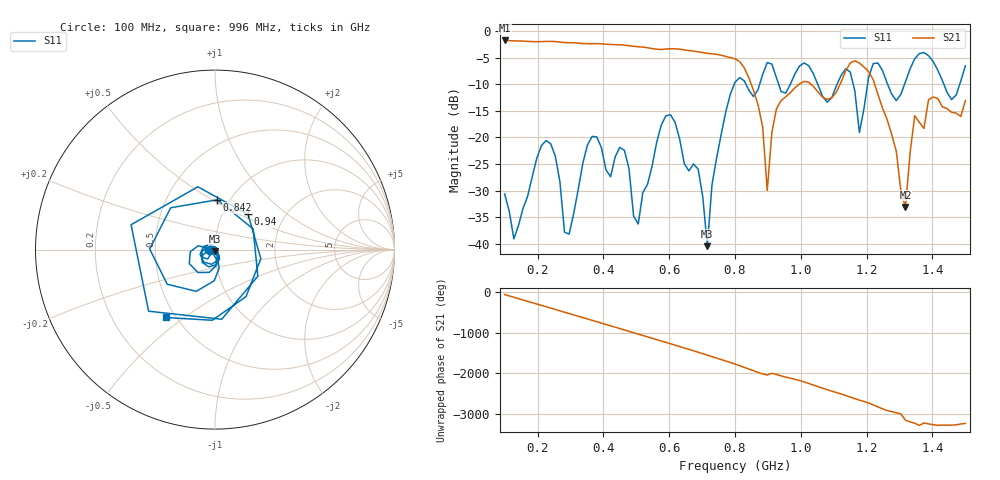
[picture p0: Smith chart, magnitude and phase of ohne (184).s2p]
! NanoVNA-App
! Date: 2025-09-25 14:22:14
! Start: 100MHz Stop: 1,5GHz Points: 101
! S-Parameter data: F S11 S21 S12 S22
# Hz S RI R 50
!  Frequency  S11_Real  S11_Imag  S21_Real  S21_Imag  S12_Real  S12_Imag  S22_Real  S22_Imag
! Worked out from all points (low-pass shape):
!   101 points, 100 MHz to 1.5 GHz, reference 50 ohm
!   highest |S21| = -1.79 dB at 100 MHz (marker M1); lowest = -33.1 dB at 1.318 GHz (marker M2)
!   |S21| within 3 dB of the highest: start of sweep to 771.7 MHz
!   lowest |S11| = -40.5 dB at 716 MHz (marker M3), VSWR 1.02, Z = 49.9 - j0.937 ohm
!   |S11| at or under -10 dB: start of sweep to 797.9 MHz; 833 MHz to 875 MHz (42.09 MHz wide, 4.93 % of centre); 1.051 GHz to 1.11 GHz (59.25 MHz wide, 5.48 % of centre) (the widest 3 of 7)
!   S12 and S22 are empty: the file has one direction only
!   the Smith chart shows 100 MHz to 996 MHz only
!   S11 on the Smith chart (normalised r, x): 100 MHz: 0.94, -0.01; 842 MHz: 0.88, +0.53; 940 MHz: 1.32, +0.56; 996 MHz: 0.44, -0.43
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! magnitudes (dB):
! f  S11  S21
! 100 MHz  -30.6  -1.8
! 128 MHz  -39.1  -1.9
! 226 MHz  -20.6  -2.0
! 296 MHz  -38.2  -2.2
! 338 MHz  -24.8  -2.4
! 464 MHz  -22.5  -2.7
! 506 MHz  -36.3  -3.0
! 576 MHz  -17.7  -3.5
! 688 MHz  -26.0  -3.9
! 716 MHz  -40.5  -4.2
! 800 MHz  -9.7  -5.2
! 842 MHz  -11.1  -8.8
! 898 MHz  -5.9  -30.0
! 940 MHz  -11.4  -13.1
! 996 MHz  -6.6  -10.0
! 1.038 GHz  -8.0  -10.4
! 1.178 GHz  -19.1  -6.0
! 1.22 GHz  -6.1  -9.2
! 1.276 GHz  -11.9  -19.4
! 1.318 GHz  -9.5  -33.1
! 1.346 GHz  -5.2  -15.9
! 1.5 GHz  -6.6  -13.1
